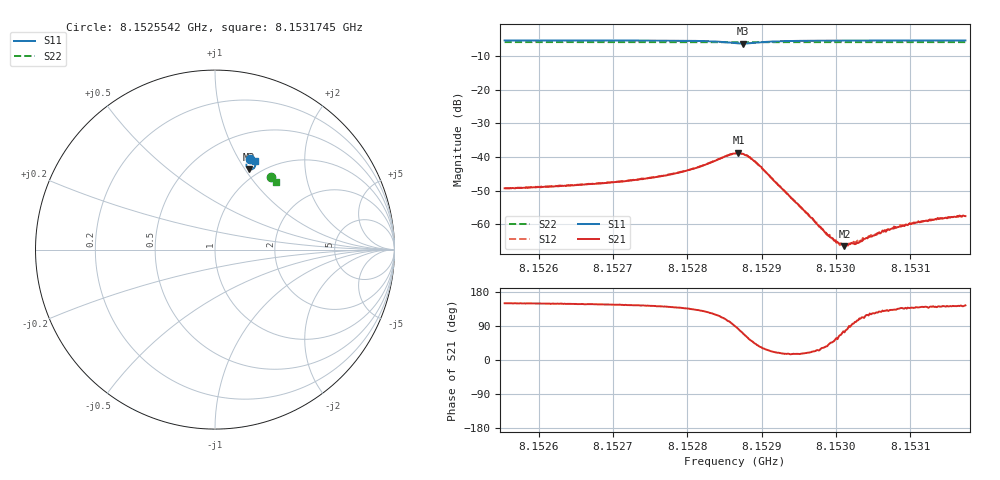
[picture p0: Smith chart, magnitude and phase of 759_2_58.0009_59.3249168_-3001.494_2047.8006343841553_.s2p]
#  HZ  S  RI  R  50.00
! Rohde & Schwarz Vector Network Analyzer
! Rohde-Schwarz,ZNB20-2Port,1311601062101988,3.16
! Created: UTC 3/21/2024, 1:24:19 AM
! freq[Hz]  re:S11  im:S11  re:S21  im:S21  re:S12  im:S12  re:S22  im:S22
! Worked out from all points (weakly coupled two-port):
!   401 points, 8.1525542 GHz to 8.1531745 GHz, reference 50 ohm
!   highest |S21| = -38.73 dB at 8.152869 GHz (marker M1); lowest = -66.5 dB at 8.1530116 GHz (marker M2)
!   lowest |S11| = -6.2 dB at 8.1528752 GHz (marker M3), VSWR 2.90, Z = 44.5 + j52.3 ohm
!   |S11| at or under -10 dB: nowhere
!   |S22| runs from -5.9 to -5.8 dB; largest |S21 - S12| = 0.00044
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8.15255417e9  0.1928 0.5048  -0.00297 0.00173  -0.00297 0.00178  0.3126 0.404
8.15265807e9  0.2017 0.501  -0.00327 0.00207  -0.0033 0.0021  0.3179 0.3998
8.15271389e9  0.2073 0.4981  -0.00357 0.00247  -0.0036 0.00255  0.3205 0.3974
8.15276197e9  0.2133 0.4942  -0.00406 0.00319  -0.00401 0.00327  0.323 0.3955
8.15281159e9  0.2216 0.4843  -0.00465 0.00505  -0.00463 0.00521  0.3254 0.393
8.15286431e9  0.2078 0.4481  0.000104 0.0113  0.000291 0.0114  0.3267 0.3897
8.15286897e9  0.2005 0.4466  0.0017 0.0115  0.00184 0.0112  0.3267 0.3897
8.15287517e9  0.1899 0.4484  0.00384 0.0105  0.00398 0.0103  0.3266 0.3897
8.15288292e9  0.1795 0.4566  0.0057 0.00832  0.00568 0.00815  0.3267 0.3897
8.15289688e9  0.1743 0.4747  0.00607 0.0044  0.00612 0.00431  0.3275 0.3901
8.15296821e9  0.1988 0.4975  0.00115 0.00047  0.00115 0.000438  0.3319 0.3875
8.15298682e9  0.2024 0.4975  0.00061 0.000437  0.000595 0.000402  0.3329 0.3867
8.15299613e9  0.2041 0.4974  0.000414 0.000458  0.000373 0.000476  0.3335 0.3863
8.15300543e9  0.2056 0.4972  0.000216 0.00047  0.000213 0.000441  0.3338 0.3859
8.15301163e9  0.2067 0.4971  0.00014 0.000453  0.000153 0.000465  0.3342 0.3856
8.15301939e9  0.2077 0.4969  2.11e-05 0.000508  -4.93e-06 0.000514  0.3345 0.3853
8.15302869e9  0.2088 0.4968  -0.000131 0.000515  -0.000129 0.000556  0.3351 0.3851
8.1530411e9  0.2104 0.4964  -0.000302 0.000552  -0.000279 0.000547  0.3356 0.3843
8.15307211e9  0.214 0.4956  -0.000546 0.000622  -0.000542 0.000629  0.3373 0.3829
8.15310157e9  0.2168 0.4948  -0.000754 0.000678  -0.000761 0.00069  0.3385 0.3816
8.15314034e9  0.2203 0.4936  -0.000957 0.000776  -0.000951 0.000767  0.3404 0.3799
8.15317446e9  0.223 0.4925  -0.00107 0.000778  -0.00104 0.00082  0.342 0.3785
